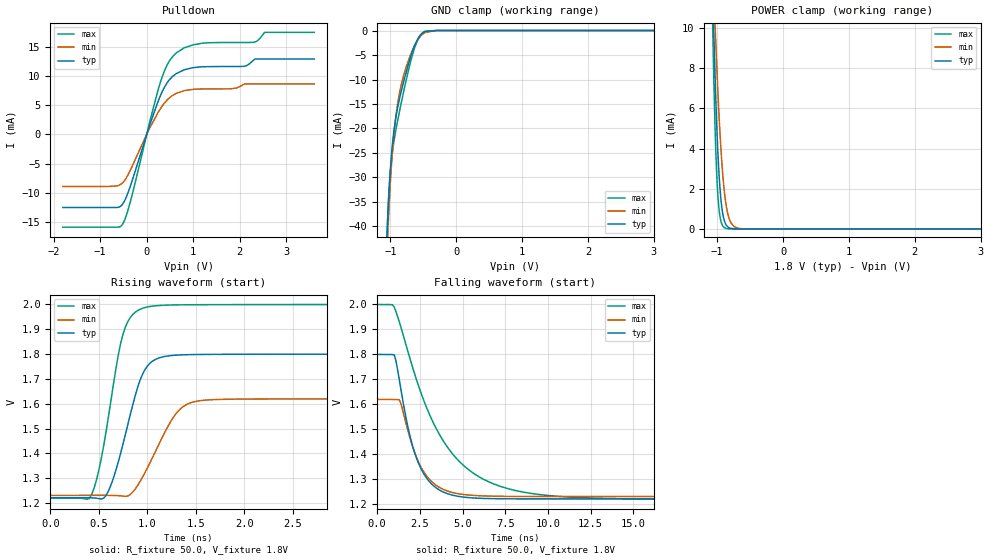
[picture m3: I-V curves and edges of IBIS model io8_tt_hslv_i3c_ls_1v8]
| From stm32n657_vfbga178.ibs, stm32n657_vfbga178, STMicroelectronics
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[Model]   io8_tt_hslv_i3c_ls_1v8
Model_type I/O_open_drain
Polarity   Non-Inverting
Enable   Active-Low
| CAP_THRESHOLD on pad IOTT is "UDTCAPC" :
| Rising=30.0% of vddiov33m   Falling=70.0% of vddiov33m
| C_comp min and max val. don't necessarily correlate with the min and max pvt
| but are the smallest and greatest pad capacitance found.
| var   typ   min   max
C_comp   1.23170pF  1.11694pF  1.38090pF
|C_comp_pulldown   1.23170pF  1.11694pF  1.38090pF
Vinl = 810.0mV
Vinh = 1.0V
Vmeas = 900.0mV   | Reference voltage for timing measurements
Cref  = 50.0pF   | Timing specification test load capacitance value
Rref  = 1.0MOhm   | Timing specification test load resistance value
Vref  = 990.0mV   | Timing specification test load voltage
[Model Spec]
| TIME_THRESHOLD on pin ZIV08M is "CMOS" :
| Rising=50.0% of vddv08m   Falling=50.0% of vddv08m
Vinl 675.70000mV 623.70000mV 735.70000mV
Vinh 1.12730V 1.01130V 1.24930V
| variable   typ   min   max
[Temperature Range] 25.0 125.0 -40.0
| variable   typ   min   max
[Voltage Range] 1.8V 1.62V 2.0V
| variable   typ   min   max
[POWER Clamp Reference] 1.8V 1.62V 2.0V
| variable   typ   min   max
[GND Clamp Reference] 0V 0V 0V
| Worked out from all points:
|   slope of the pulldown table from 0 to 0.27 V, typ, clamps not added: 43.9 ohm
|   GND clamp passes 1 mA (typ) near -0.55 V on its own axis
|   POWER clamp passes 1 mA (typ) near -0.93 V on its own axis
|   rising waveform, R_fixture 50.0, V_fixture 1.8V: 20-80 % time 236ps typ, 306ps min, 202ps max; typ from 1.22 V to 1.8 V
|   falling waveform, R_fixture 50.0, V_fixture 1.8V: 20-80 % time 1.28ns typ, 1.33ns min, 3.09ns max; typ from 1.8 V to 1.22 V
[POWER Clamp]
-1.8V     152.1mA    105.6mA    221.1mA
-1.07V    12.07mA    13.61mA    10.38mA
-1.05V    9.569mA    11.75mA    7.248mA
-1.03V    7.339mA    9.993mA    4.743mA
-1.01V    5.42mA     8.357mA    2.898mA
-990mV    3.841mA    6.859mA    1.662mA
-970mV    2.609mA    5.513mA    906.4uA
-940mV    1.358mA    3.806mA    344.1uA
-880mV    308.2uA    1.548mA    45.5uA
-790mV    28.46uA    298.8uA    2.106uA
-610mV    211.8nA    7.522uA    9.52nA
3.6V      0A         0A         0A
[GND Clamp]
-1.8V     -1.222A    -1.193A    -1.238A
-1.05V    -42.33mA   -45.55mA   -41.2mA
-1.04V    -38.89mA   -42.1mA    -37.88mA
-1.03V    -35.83mA   -38.98mA   -35.06mA
-1.01V    -30.7mA    -33.54mA   -30.61mA
-970mV    -23.47mA   -25.17mA   -24.97mA
-920mV    -18.06mA   -18.06mA   -20.63mA
-870mV    -14.51mA   -13.44mA   -17.13mA
-780mV    -9.532mA   -8.354mA   -11.38mA
-650mV    -3.743mA   -3.581mA   -4.327mA
-490mV    -324.1uA   -556uA     -259.6uA
3.6V      66.06nA    2.767uA    18.5nA
| variable   typ   min   max
[Pullup Reference] 1.8V 1.62V 2.0V
| variable   typ   min   max
[Pulldown Reference] 0V 0V 0V
[Pulldown]
-1.8V     -12.46mA   -8.882mA   -15.82mA
-520mV    -11.93mA   -8.267mA   -15.35mA
-310mV    -7.858mA   -5.414mA   -10.27mA
280mV     6.351mA    4.22mA     8.544mA
440mV     8.829mA    5.894mA    11.87mA
630mV     10.37mA    7.006mA    13.9mA
1.18V     11.56mA    7.771mA    15.57mA
1.8V      11.61mA    7.801mA    15.71mA
2.09V     11.64mA    8.584mA    15.71mA
2.31V     12.8mA     8.642mA    15.76mA
2.54V     12.89mA    8.642mA    17.45mA
3.6V      12.89mA    8.642mA    17.45mA
[Ramp]
dV/dt_r 347.11996mV/235.79817ps 233.32671mV/305.65505ps 468.11487mV/201.7592ps
dV/dt_f 347.15374mV/1.27575ns 233.36791mV/1.32718ns 468.14304mV/3.08635ns
R_load = 50.0
| Removed startup time: 0s 0s 0s  .
| Removed end time: 6.975ns.
[Rising Waveform]
R_fixture   = 50.0
V_fixture   = 1.8V
V_fixture_min = 1.62V
V_fixture_max = 2.0V
0s        1.221V     1.231V     1.22V
425ps     1.221V     1.231V     1.233V
500ps     1.218V     1.231V     1.332V
575ps     1.231V     1.231V     1.488V
750ps     1.439V     1.228V     1.881V
850ps     1.596V     1.244V     1.96V
975ps     1.737V     1.322V     1.988V
1.3ns     1.796V     1.562V     1.998V
1.55ns    1.799V     1.613V     1.999V
6.975ns   1.8V       1.62V      2V
| Removed startup time: 0s 0s 0s  .
| Removed end time: 199.9ns.
[Falling Waveform]
R_fixture   = 50.0
V_fixture   = 1.8V
V_fixture_min = 1.62V
V_fixture_max = 2.0V
0s        1.8V       1.62V      2V
1ns       1.798V     1.619V     1.99V
1.4ns     1.657V     1.602V     1.907V
2.2ns     1.406V     1.406V     1.721V
2.7ns     1.326V     1.333V     1.621V
3.4ns     1.268V     1.279V     1.511V
4.7ns     1.232V     1.243V     1.38V
6.3ns     1.223V     1.233V     1.298V
11.2ns    1.221V     1.231V     1.229V
199.9ns   1.221V     1.231V     1.22V
